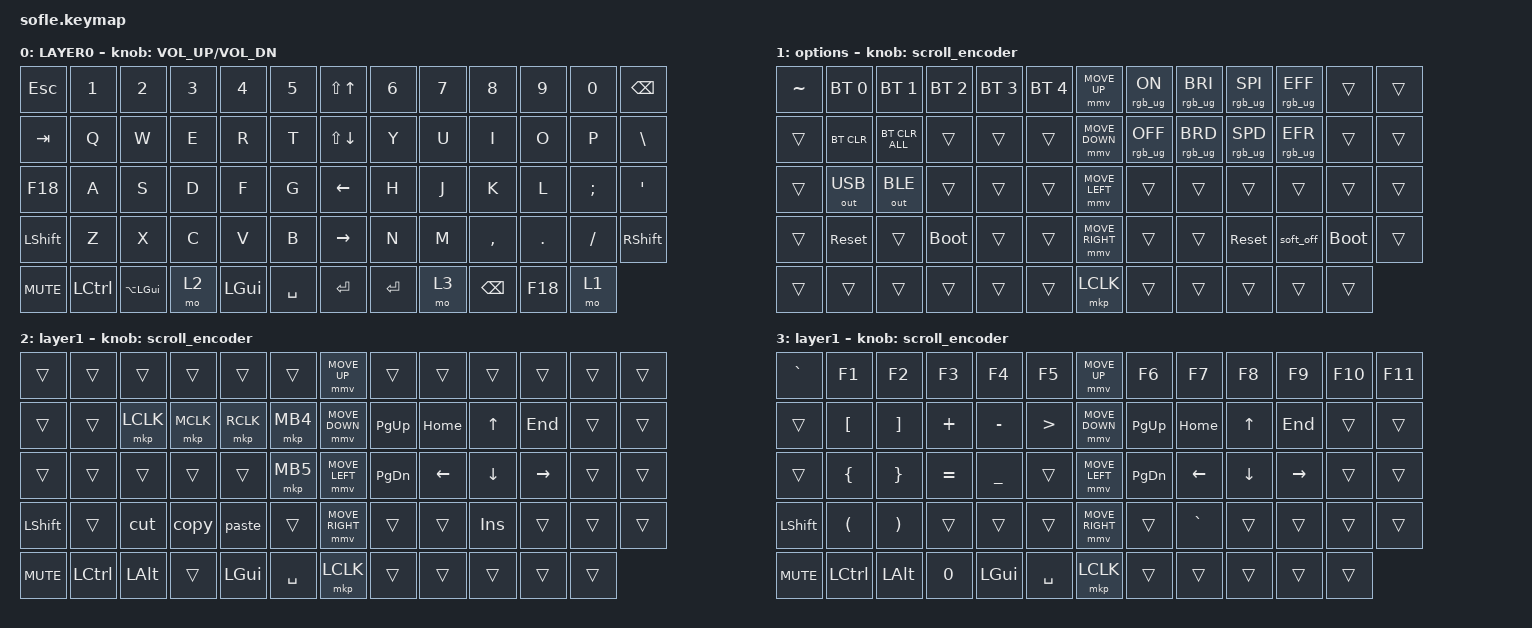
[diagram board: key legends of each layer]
#include <behaviors/mouse_keys.dtsi>
#include <behaviors.dtsi>
#include <dt-bindings/zmk/bt.h>
#include <dt-bindings/zmk/keys.h>
#include <dt-bindings/zmk/mouse.h>
#include <dt-bindings/zmk/outputs.h>
#include <dt-bindings/zmk/rgb.h>

#define ZMK_MOUSE_DEFAULT_MOVE_VAL 1200  // 600
#define ZMK_MOUSE_DEFAULT_SCRL_VAL 20    // 10
#define U_MS_U &mmv MOVE_UP
#define U_MS_D &mmv MOVE_DOWN
#define U_MS_L &mmv MOVE_LEFT
#define U_MS_R &mmv MOVE_RIGHT
#define ZMK_MOUSE_DEFAULT_MOVE_VAL 1200  //  600
#define ZMK_MOUSE_DEFAULT_SCRL_VAL 20    // 10

/ {
    behaviors {
        mmv {
            acceleration-exponent = <1>;      // 1
            time-to-max-speed-ms = <900>;    // 40
            delay-ms = <0>;                   // 0
        };

        msc {
            acceleration-exponent = <1>;      // 0
            time-to-max-speed-ms = <400>;      // 500
            delay-ms = <0>;                   //   10
        };
    };

    scroll_encoder: scroll_encoder {
        compatible = "zmk,behavior-sensor-rotate";
        #sensor-binding-cells = <0>;
        bindings = <&msc SCRL_DOWN>, <&msc SCRL_UP>;

        tap-ms = <30>;
    };

    macros {
        copy: copy {
            compatible = "zmk,behavior-macro";
            #binding-cells = <0>;
            bindings = <&kp RG(C)>;
            label = "COPY";
        };

        paste: paste {
            compatible = "zmk,behavior-macro";
            #binding-cells = <0>;
            bindings = <&kp RG(V)>;
            label = "PASTE";
        };

        cut: cut {
            compatible = "zmk,behavior-macro";
            #binding-cells = <0>;
            bindings = <&kp LG(X)>;
            label = "CUT";
        };
    };

    keymap {
        compatible = "zmk,keymap";

        default {
            bindings = <
&kp ESC     &kp N1     &kp N2            &kp N3  &kp N4        &kp N5       &kp LS(UP_ARROW)    &kp N6     &kp N7  &kp N8         &kp N9   &kp N0    &kp BACKSPACE
&kp TAB     &kp Q      &kp W             &kp E   &kp R         &kp T        &kp LS(DOWN_ARROW)  &kp Y      &kp U   &kp I          &kp O    &kp P     &kp BSLH
&kp F18     &kp A      &kp S             &kp D   &kp F         &kp G        &kp LEFT_ARROW      &kp H      &kp J   &kp K          &kp L    &kp SEMI  &kp APOS
&kp LSHFT   &kp Z      &kp X             &kp C   &kp V         &kp B        &kp RIGHT_ARROW     &kp N      &kp M   &kp COMMA      &kp DOT  &kp FSLH  &kp RIGHT_SHIFT
&kp C_MUTE  &kp LCTRL  &kp LA(LEFT_GUI)  &mo 2   &kp LEFT_GUI  &kp SPACE    &kp ENTER           &kp ENTER  &mo 3   &kp BACKSPACE  &kp F18  &mo 1
            >;

            sensor-bindings = <&inc_dec_kp C_VOLUME_UP C_VOL_DN>;
            display-name = "LAYER0";
        };

        options {
            bindings = <
&kp TILDE  &bt BT_SEL 0  &bt BT_SEL 1    &bt BT_SEL 2  &bt BT_SEL 3  &bt BT_SEL 4    &mmv MOVE_UP     &rgb_ug RGB_ON   &rgb_ug RGB_BRI  &rgb_ug RGB_SPI  &rgb_ug RGB_EFF  &trans       &trans
&trans     &bt BT_CLR    &bt BT_CLR_ALL  &trans        &trans        &trans          &mmv MOVE_DOWN   &rgb_ug RGB_OFF  &rgb_ug RGB_BRD  &rgb_ug RGB_SPD  &rgb_ug RGB_EFR  &trans       &trans
&trans     &out OUT_USB  &out OUT_BLE    &trans        &trans        &trans          &mmv MOVE_LEFT   &trans           &trans           &trans           &trans           &trans       &trans
&trans     &sys_reset    &trans          &bootloader   &trans        &trans          &mmv MOVE_RIGHT  &trans           &trans           &sys_reset       &soft_off        &bootloader  &trans
&trans     &trans        &trans          &trans        &trans        &trans          &mkp LCLK        &trans           &trans           &trans           &trans           &trans
            >;

            sensor-bindings = <&scroll_encoder>;
        };

        mouse {
            display-name = "layer1";
            bindings = <
&trans          &trans            &trans        &trans     &trans        &trans       &mmv MOVE_UP     &trans     &trans    &trans      &trans     &trans  &trans
&trans          &trans            &mkp LCLK     &mkp MCLK  &mkp RCLK     &mkp MB4     &mmv MOVE_DOWN   &kp PG_UP  &kp HOME  &kp UP      &kp END    &trans  &trans
&trans          &trans            &trans        &trans     &trans        &mkp MB5     &mmv MOVE_LEFT   &kp PG_DN  &kp LEFT  &kp DOWN    &kp RIGHT  &trans  &trans
&kp LEFT_SHIFT  &trans            &cut          &copy      &paste        &trans       &mmv MOVE_RIGHT  &trans     &trans    &kp INSERT  &trans     &trans  &trans
&kp C_MUTE      &kp LEFT_CONTROL  &kp LEFT_ALT  &trans     &kp LEFT_GUI  &kp SPACE    &mkp LCLK        &trans     &trans    &trans      &trans     &trans
            >;

            sensor-bindings = <&scroll_encoder>;
        };

        secondary {
            bindings = <
&kp GRAVE       &kp F1                &kp F2                 &kp F3        &kp F4        &kp F5              &mmv MOVE_UP     &kp F6     &kp F7     &kp F8    &kp F9     &kp F10  &kp F11
&trans          &kp LEFT_BRACKET      &kp RIGHT_BRACKET      &kp PLUS      &kp MINUS     &kp GREATER_THAN    &mmv MOVE_DOWN   &kp PG_UP  &kp HOME   &kp UP    &kp END    &trans   &trans
&trans          &kp LEFT_BRACE        &kp RIGHT_BRACE        &kp EQUAL     &kp UNDER     &trans              &mmv MOVE_LEFT   &kp PG_DN  &kp LEFT   &kp DOWN  &kp RIGHT  &trans   &trans
&kp LEFT_SHIFT  &kp LEFT_PARENTHESIS  &kp RIGHT_PARENTHESIS  &trans        &trans        &trans              &mmv MOVE_RIGHT  &trans     &kp GRAVE  &trans    &trans     &trans   &trans
&kp C_MUTE      &kp LEFT_CONTROL      &kp LEFT_ALT           &kp NUMBER_0  &kp LEFT_GUI  &kp SPACE           &mkp LCLK        &trans     &trans     &trans    &trans     &trans
            >;

            display-name = "layer1";
            sensor-bindings = <&scroll_encoder>;
        };
    };
};
